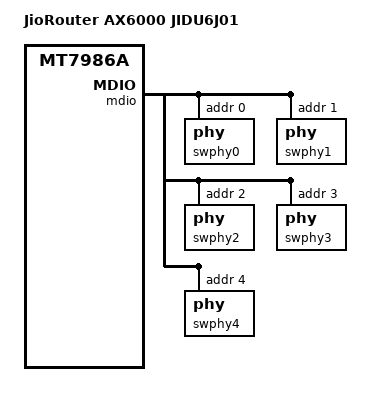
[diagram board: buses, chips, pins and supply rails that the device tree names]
// SPDX-License-Identifier: (GPL-2.0 OR MIT)

/dts-v1/;
#include "mt7986a-jiorouter-common.dtsi"

/ {
	compatible = "jiorouter,ax6000-jidu6j01", "mediatek,mt7986a";
	model = "JioRouter AX6000 JIDU6J01";
};

&switch {
	ports {
		#address-cells = <1>;
		#size-cells = <0>;

		port@0 {
			reg = <0>;
			label = "wan";
			phy-handle = <&swphy0>;
		};

		port@1 {
			reg = <1>;
			label = "lan1";
			phy-handle = <&swphy1>;
		};

		port@2 {
			reg = <2>;
			label = "lan2";
			phy-handle = <&swphy2>;
		};

		port@3 {
			reg = <3>;
			label = "lan3";
			phy-handle = <&swphy3>;
		};

		port@4 {
			reg = <4>;
			label = "lan4";
			phy-handle = <&swphy4>;
		};

		port@6 {
			reg = <6>;
			ethernet = <&gmac0>;
			phy-mode = "2500base-x";

			fixed-link {
				speed = <2500>;
				full-duplex;
				pause;
			};
		};
	};

	mdio {
		#address-cells = <1>;
		#size-cells = <0>;

		swphy0: phy@0 {
			reg = <0>;

			mediatek,led-config = <
				0x21 0x8009 /* BASIC_CTRL */
				0x22 0x0c00 /* ON_DURATION */
				0x23 0x1400 /* BLINK_DURATION */
				0x24 0xc000 /* LED0_ON_CTRL */
				0x25 0x003f /* LED0_BLINK_CTRL */
				0x26 0xc007 /* LED1_ON_CTRL */
				0x27 0x0000 /* LED1_BLINK_CTRL */
			>;
		};

		swphy1: phy@1 {
			reg = <1>;

			mediatek,led-config = <
				0x21 0x8009 /* BASIC_CTRL */
				0x22 0x0c00 /* ON_DURATION */
				0x23 0x1400 /* BLINK_DURATION */
				0x24 0xc000 /* LED0_ON_CTRL */
				0x25 0x003f /* LED0_BLINK_CTRL */
				0x26 0xc007 /* LED1_ON_CTRL */
				0x27 0x0000 /* LED1_BLINK_CTRL */
			>;
		};

		swphy2: phy@2 {
			reg = <2>;

			mediatek,led-config = <
				0x21 0x8009 /* BASIC_CTRL */
				0x22 0x0c00 /* ON_DURATION */
				0x23 0x1400 /* BLINK_DURATION */
				0x24 0xc000 /* LED0_ON_CTRL */
				0x25 0x003f /* LED0_BLINK_CTRL */
				0x26 0xc007 /* LED1_ON_CTRL */
				0x27 0x0000 /* LED1_BLINK_CTRL */
			>;
		};

		swphy3: phy@3 {
			reg = <3>;

			mediatek,led-config = <
				0x21 0x8009 /* BASIC_CTRL */
				0x22 0x0c00 /* ON_DURATION */
				0x23 0x1400 /* BLINK_DURATION */
				0x24 0xc000 /* LED0_ON_CTRL */
				0x25 0x003f /* LED0_BLINK_CTRL */
				0x26 0xc007 /* LED1_ON_CTRL */
				0x27 0x0000 /* LED1_BLINK_CTRL */
			>;
		};

		swphy4: phy@4 {
			reg = <4>;

			mediatek,led-config = <
				0x21 0x8009 /* BASIC_CTRL */
				0x22 0x0c00 /* ON_DURATION */
				0x23 0x1400 /* BLINK_DURATION */
				0x24 0xc000 /* LED0_ON_CTRL */
				0x25 0x003f /* LED0_BLINK_CTRL */
				0x26 0xc007 /* LED1_ON_CTRL */
				0x27 0x0000 /* LED1_BLINK_CTRL */
			>;
		};
	};
};
